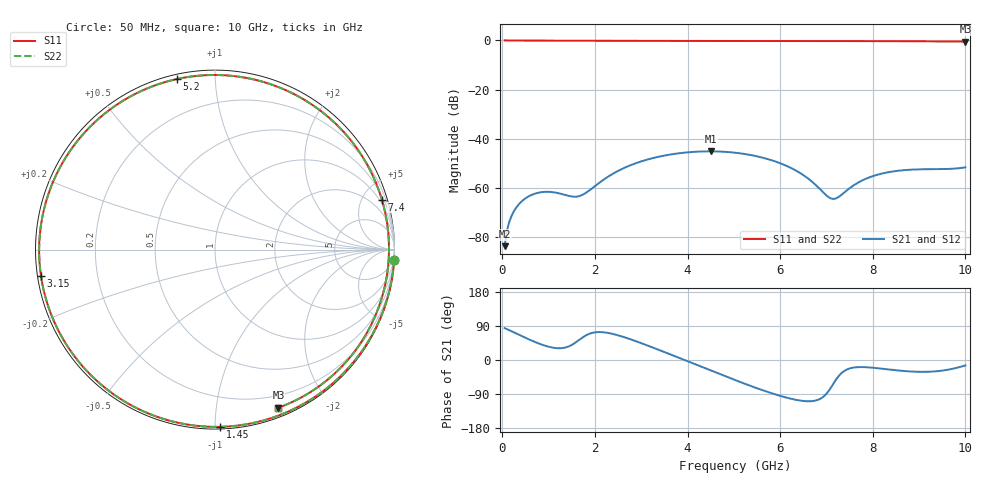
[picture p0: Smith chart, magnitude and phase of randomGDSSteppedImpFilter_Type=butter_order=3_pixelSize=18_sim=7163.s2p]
! freq	dB(S11)	phase(S11)	dB(S12)	phase(S12)
!  dB(S21)	phase(S21)	dB(S22)	phase(S22)
!S-par simulation data
#  GHz  S  DB  R 50
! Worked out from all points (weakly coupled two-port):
!   200 points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, 50 MHz to 10 GHz, reference 50 ohm
!   highest |S21| = -45.08 dB at 4.5 GHz (marker M1); lowest = -83.6 dB at 50 MHz (marker M2)
!   lowest |S11| = -0.5 dB at 10 GHz (marker M3), VSWR 38.17, Z = 4.17 - j73.8 ohm
!   |S11| at or under -10 dB: nowhere
!   |S22| runs from -0.5 to 0.0 dB; largest |S21 - S12| = 0
!   S11 on the Smith chart (normalised r, x): 50 MHz: 0, -36; 1.45 GHz: 0.01, -1.03; 3.15 GHz: 0.01, -0.07; 5.2 GHz: 0.02, +0.80; 7.4 GHz: 0.70, +6.75; 10 GHz: 0.08, -1.48
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0.05  -0.00 -3.2  -83.63 84.2  -83.63 84.2  -0.00 -3.2
0.25  -0.01 -16.0  -69.46 73.0  -69.46 73.0  -0.01 -16.0
0.55  -0.04 -35.1  -63.59 55.8  -63.59 55.8  -0.04 -35.1
1  -0.08 -62.6  -61.54 35.1  -61.54 35.1  -0.08 -62.6
1.45  -0.10 -88.4  -63.27 36.7  -63.27 36.7  -0.10 -88.4
1.75  -0.12 -104.6  -62.59 60.9  -62.59 60.9  -0.12 -104.6
2.45  -0.15 -139.6  -53.53 66.9  -53.53 66.9  -0.15 -139.6
3.15  -0.17 -171.5  -48.33 37.6  -48.33 37.6  -0.17 -171.6
3.4  -0.18 177.6  -47.18 25.8  -47.18 25.8  -0.18 177.5
3.95  -0.20 154.2  -45.58 -0.8  -45.58 -0.8  -0.20 154.1
4.5  -0.21 131.3  -45.08 -27.7  -45.08 -27.7  -0.21 131.2
5.05  -0.23 108.7  -45.68 -54.1  -45.68 -54.1  -0.23 108.6
5.2  -0.23 102.6  -46.06 -61.1  -46.06 -61.1  -0.23 102.5
5.9  -0.24 74.3  -49.23 -91.0  -49.23 -91.0  -0.25 74.2
6.35  -0.25 56.5  -52.99 -105.3  -52.99 -105.3  -0.25 56.4
6.7  -0.25 42.9  -57.59 -108.4  -57.59 -108.4  -0.25 42.8
7.1  -0.26 27.8  -64.27 -72.2  -64.27 -72.2  -0.26 27.6
7.4  -0.26 16.7  -61.57 -27.7  -61.57 -27.7  -0.26 16.5
7.8  -0.27 2.4  -56.65 -18.7  -56.65 -18.7  -0.27 2.2
8.35  -0.29 -16.5  -53.52 -25.1  -53.52 -25.1  -0.29 -16.7
9.2  -0.35 -43.8  -52.33 -31.0  -52.33 -31.0  -0.35 -44.0
10  -0.46 -68.1  -51.58 -14.4  -51.58 -14.4  -0.46 -68.4
